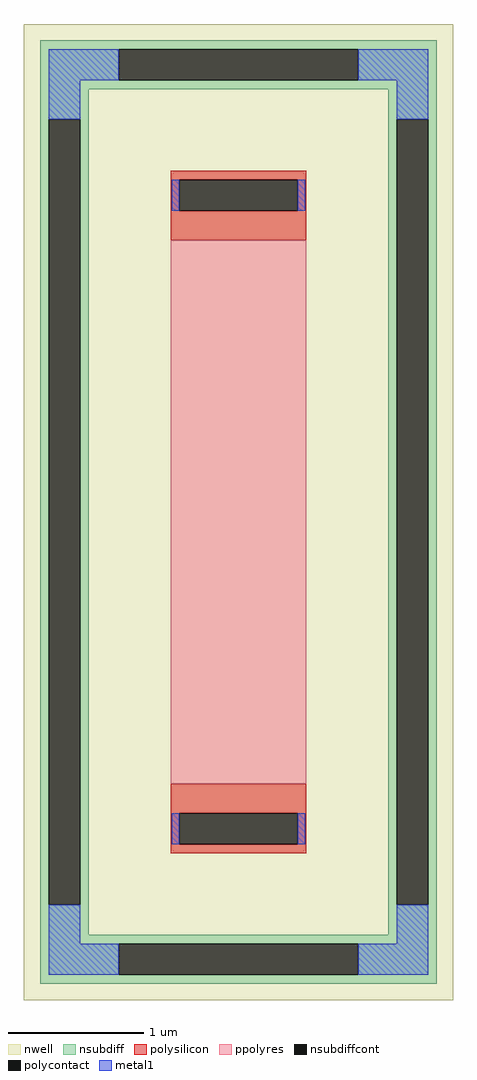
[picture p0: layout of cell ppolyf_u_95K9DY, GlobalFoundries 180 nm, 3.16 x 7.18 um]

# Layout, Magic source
magic
tech gf180mcuD
magscale 1 10
<< nwell >>
rect -316 -718 316 718
<< nsubdiff >>
rect -292 681 292 694
rect -292 635 -176 681
rect 176 635 292 681
rect -292 622 292 635
rect -292 578 -220 622
rect -292 -578 -279 578
rect -233 -578 -220 578
rect 220 578 292 622
rect -292 -622 -220 -578
rect 220 -578 233 578
rect 279 -578 292 578
rect 220 -622 292 -578
rect -292 -635 292 -622
rect -292 -681 -176 -635
rect 176 -681 292 -635
rect -292 -694 292 -681
<< nsubdiffcont >>
rect -176 635 176 681
rect -279 -578 -233 578
rect 233 -578 279 578
rect -176 -681 176 -635
<< polysilicon >>
rect -100 489 100 502
rect -100 443 -87 489
rect 87 443 100 489
rect -100 400 100 443
rect -100 -443 100 -400
rect -100 -489 -87 -443
rect 87 -489 100 -443
rect -100 -502 100 -489
<< polycontact >>
rect -87 443 87 489
rect -87 -489 87 -443
<< ppolyres >>
rect -100 -400 100 400
<< metal1 >>
rect -279 635 -176 681
rect 176 635 279 681
rect -279 578 -233 635
rect 233 578 279 635
rect -98 443 -87 489
rect 87 443 98 489
rect -98 -489 -87 -443
rect 87 -489 98 -443
rect -279 -635 -233 -578
rect 233 -635 279 -578
rect -279 -681 -176 -635
rect 176 -681 279 -635
<< properties >>
string FIXED_BBOX -256 -658 256 658
string gencell ppolyf_u
string library gf180mcu
string parameters w 1 l 4 m 1 nx 1 wmin 0.80 lmin 1.00 class resistor rho 315 val 1.354k dummy 0 dw 0.07 term 0.0 sterm 0.0 caplen 0.4 snake 0 glc 1 grc 1 gtc 1 gbc 1 roverlap 0 endcov 100 full_metal 1
string ppolyf_u_95K9DY parameters
<< end >>
